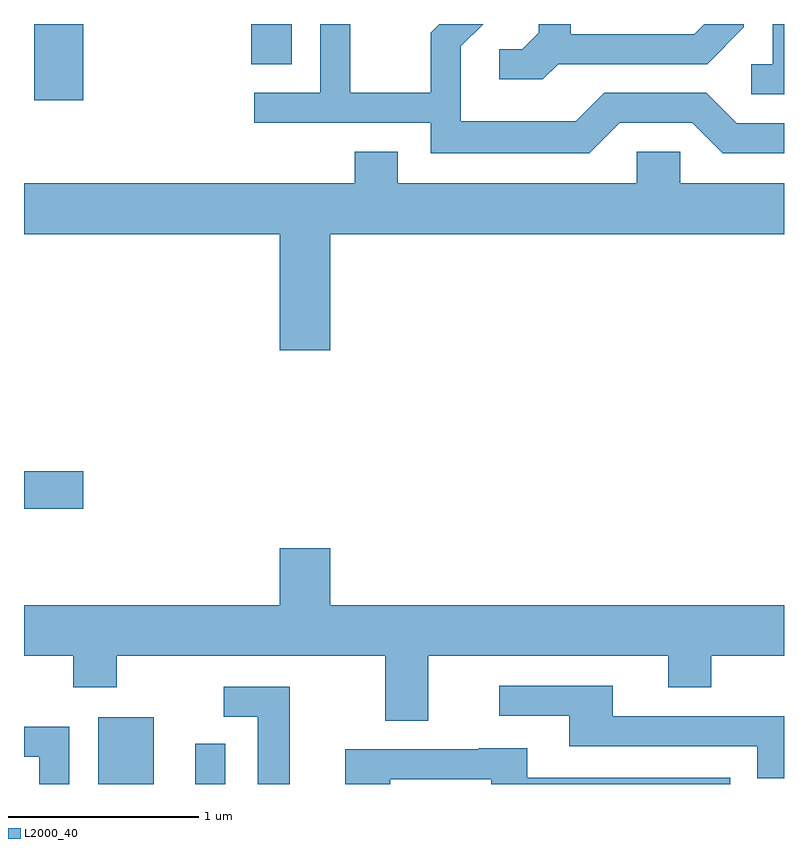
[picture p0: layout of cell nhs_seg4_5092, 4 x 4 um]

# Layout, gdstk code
import gdstk
lib = gdstk.Library(unit=1e-6, precision=1e-09)
def R(c, l, rs):  # rectangles x0, y0, x1, y1
    for r in rs: c.add(gdstk.rectangle(r[:2], r[2:], *l))
def P(c, l, *ps):  # polygons
    for p in ps: c.add(gdstk.Polygon(p, *l))
L2000_40 = (2000, 40)

nhs_seg4_5092 = lib.new_cell('nhs_seg4_5092')
R(nhs_seg4_5092, L2000_40, [(334.001,1373.982,334.294,1374.334), (334.511,1373.982,334.669,1374.193), (333.611,1375.431,333.924,1375.629), (333.666,1377.581,333.924,1377.982), (334.806,1377.771,335.019,1377.982)])
P(nhs_seg4_5092, L2000_40, [(336.747,1377.461),(337.129,1377.461),(337.289,1377.301),(337.611,1377.301),(337.611,1377.459),(337.362,1377.459),(337.202,1377.619),(336.664,1377.619),(336.514,1377.469),(335.909,1377.469),(335.909,1377.864),(336.027,1377.982),(335.796,1377.982),(335.751,1377.937),(335.751,1377.619),(335.329,1377.619),(335.329,1377.982),(335.171,1377.982),(335.171,1377.619),(334.823,1377.619),(334.823,1377.461),(335.751,1377.461),(335.751,1377.301),(336.587,1377.301)],
  [(336.422,1377.771),(337.207,1377.771),(337.399,1377.964),(337.399,1377.982),(337.191,1377.982),(337.139,1377.929),(336.489,1377.929),(336.489,1377.982),(336.321,1377.982),(336.321,1377.937),(336.234,1377.849),(336.113,1377.849),(336.113,1377.691),(336.342,1377.691)],
  [(337.611,1377.982),(337.551,1377.982),(337.551,1377.769),(337.438,1377.769),(337.438,1377.611),(337.611,1377.611)],
  [(335.224,1376.876),(337.611,1376.876),(337.611,1377.144),(337.064,1377.144),(337.064,1377.309),(336.836,1377.309),(336.836,1377.144),(335.579,1377.144),(335.579,1377.309),(335.351,1377.309),(335.351,1377.144),(333.611,1377.144),(333.611,1376.876),(334.956,1376.876),(334.956,1376.266),(335.224,1376.266)],
  [(335.739,1374.656),(337.001,1374.656),(337.001,1374.491),(337.229,1374.491),(337.229,1374.656),(337.611,1374.656),(337.611,1374.924),(335.224,1374.924),(335.224,1375.224),(334.956,1375.224),(334.956,1374.924),(333.611,1374.924),(333.611,1374.656),(333.871,1374.656),(333.871,1374.491),(334.099,1374.491),(334.099,1374.656),(335.511,1374.656),(335.511,1374.316),(335.739,1374.316)],
  [(337.611,1374.339),(336.709,1374.339),(336.709,1374.499),(336.113,1374.499),(336.113,1374.341),(336.481,1374.341),(336.481,1374.181),(337.471,1374.181),(337.471,1374.011),(337.611,1374.011)],
  [(335.009,1374.494),(334.663,1374.494),(334.663,1374.336),(334.841,1374.336),(334.841,1373.982),(335.009,1373.982)],
  [(333.849,1374.284),(333.611,1374.284),(333.611,1374.126),(333.691,1374.126),(333.691,1373.982),(333.849,1373.982)],
  [(335.539,1374.006),(336.071,1374.006),(336.071,1373.982),(337.328,1373.982),(337.328,1374.014),(336.259,1374.014),(336.259,1374.169),(336.005,1374.169),(336.005,1374.164),(335.301,1374.164),(335.301,1373.982),(335.539,1373.982)])

lib.write_gds('nhs_seg4_5092.gds')
